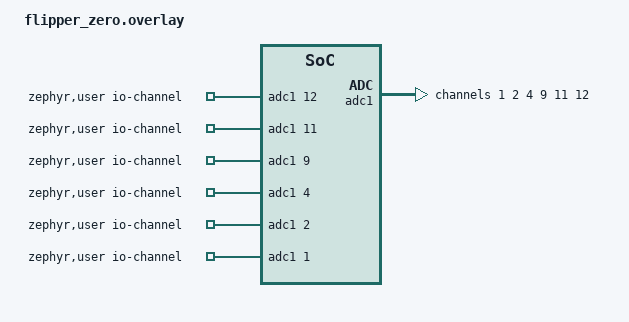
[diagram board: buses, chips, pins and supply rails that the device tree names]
/*
 * SPDX-FileCopyrightText: Copyright The Zephyr Project Contributors
 * SPDX-License-Identifier: Apache-2.0
 */

/* GPIO header pins 2 (PA7), 3 (PA6), 4 (PA4), 7 (PC3), 15 (PC1) and 16 (PC0) */

/ {
	zephyr,user {
		io-channels = <&adc1 12>, <&adc1 11>, <&adc1 9>,
			      <&adc1 4>, <&adc1 2>, <&adc1 1>;
	};
};

&adc1 {
	#address-cells = <1>;
	#size-cells = <0>;

	channel@1 {
		reg = <1>;
		zephyr,gain = "ADC_GAIN_1";
		zephyr,reference = "ADC_REF_INTERNAL";
		zephyr,acquisition-time = <ADC_ACQ_TIME_DEFAULT>;
		zephyr,resolution = <12>;
	};

	channel@2 {
		reg = <2>;
		zephyr,gain = "ADC_GAIN_1";
		zephyr,reference = "ADC_REF_INTERNAL";
		zephyr,acquisition-time = <ADC_ACQ_TIME_DEFAULT>;
		zephyr,resolution = <12>;
	};

	channel@4 {
		reg = <4>;
		zephyr,gain = "ADC_GAIN_1";
		zephyr,reference = "ADC_REF_INTERNAL";
		zephyr,acquisition-time = <ADC_ACQ_TIME_DEFAULT>;
		zephyr,resolution = <12>;
	};

	channel@9 {
		reg = <9>;
		zephyr,gain = "ADC_GAIN_1";
		zephyr,reference = "ADC_REF_INTERNAL";
		zephyr,acquisition-time = <ADC_ACQ_TIME_DEFAULT>;
		zephyr,resolution = <12>;
	};

	channel@b {
		reg = <11>;
		zephyr,gain = "ADC_GAIN_1";
		zephyr,reference = "ADC_REF_INTERNAL";
		zephyr,acquisition-time = <ADC_ACQ_TIME_DEFAULT>;
		zephyr,resolution = <12>;
	};

	channel@c {
		reg = <12>;
		zephyr,gain = "ADC_GAIN_1";
		zephyr,reference = "ADC_REF_INTERNAL";
		zephyr,acquisition-time = <ADC_ACQ_TIME_DEFAULT>;
		zephyr,resolution = <12>;
	};
};
